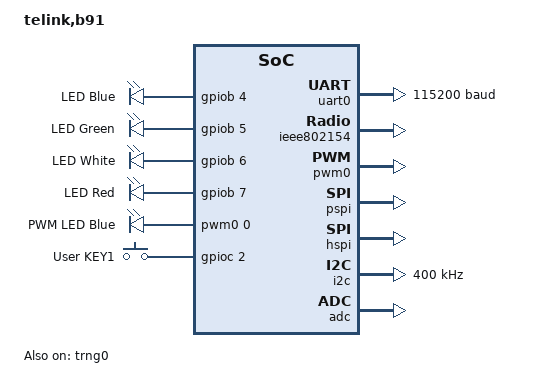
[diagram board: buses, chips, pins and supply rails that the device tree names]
/*
 * Copyright (c) 2021 Telink Semiconductor
 *
 * SPDX-License-Identifier: Apache-2.0
 */

/dts-v1/;

#include <freq.h>
#include <telink/telink_b91.dtsi>
#include "tlsr9518adk80d-pinctrl.dtsi"
#include <zephyr/dt-bindings/input/input-event-codes.h>

/ {
	model = "telink,b91";
	compatible = "telink,tlsr9518adk80d";

	aliases {
		led0 = &led_blue;
		led1 = &led_green;
		led2 = &led_white;
		led3 = &led_red;
		sw0 = &key_1;
		pwm-led0 = &pwm_led_blue;
		pwm-0 = &pwm0;
	};

	leds {
		compatible = "gpio-leds";

		led_blue: led_0 {
			gpios = <&gpiob 4 GPIO_ACTIVE_HIGH>;
			label = "LED Blue";
		};

		led_green: led_1 {
			gpios = <&gpiob 5 GPIO_ACTIVE_HIGH>;
			label = "LED Green";
		};

		led_white: led_2 {
			gpios = <&gpiob 6 GPIO_ACTIVE_HIGH>;
			label = "LED White";
		};

		led_red: led_3 {
			gpios = <&gpiob 7 GPIO_ACTIVE_HIGH>;
			label = "LED Red";
		};
	};

	pwm_leds {
		compatible = "pwm-leds";

		pwm_led_blue: pwm_led_0 {
			pwms = <&pwm0 0 PWM_MSEC(20) PWM_POLARITY_NORMAL>;
			label = "PWM LED Blue";
		};
	};

	keys {
		compatible = "gpio-keys";
		key_1: button_1 {
			label = "User KEY1";
			gpios = <&gpioc 2 GPIO_PULL_DOWN>;
			zephyr,code = <INPUT_KEY_0>;
		};
	};

	chosen {
		zephyr,console = &uart0;
		zephyr,shell-uart = &uart0;
		zephyr,sram = &ram_dlm;
		zephyr,flash = &flash;
		zephyr,flash-controller = &flash_mspi;
		zephyr,entropy = &trng0;
		zephyr,code-partition = &slot0_partition;
		zephyr,ieee802154 = &ieee802154;
	};
};

&cpu0 {
	clock-frequency = <48000000>;
};

&ram_ilm {
	reg = <0x00000000 0x00020000>;
};

&ram_dlm {
	reg = <0x00080000 0x00020000>;
};

&flash {
	reg = <0x20000000 0x100000>;

	partitions {
		compatible = "fixed-partitions";
		#address-cells = <1>;
		#size-cells = <1>;

		boot_partition: partition@0 {
			label = "mcuboot";
			reg = <0x00000000 0x10000>;
		};
		slot0_partition: partition@10000 {
			label = "image-0";
			reg = <0x10000 0x70000>;
		};
		slot1_partition: partition@80000 {
			label = "image-1";
			reg = <0x80000 0x70000>;
		};
		scratch_partition: partition@f0000 {
			label = "image-scratch";
			reg = <0xf0000 0x4000>;
		};
		storage_partition: partition@f4000 {
			label = "storage";
			reg = <0xf4000 0x0000b000>;
		/* region <0xff000 0x1000> is reserved for Telink B91 SDK's data */
		};
	};
};

&gpiob {
	status = "okay";
};

&gpioc {
	interrupts = <25 1>;
	status = "okay";
};

&uart0 {
	status = "okay";
	current-speed = <115200>;
	pinctrl-0 = <&uart0_tx_pb2_default &uart0_rx_pb3_default>;
	pinctrl-names = "default";
};

&trng0 {
	status = "okay";
};

&ieee802154 {
	status = "okay";
};

&pwm0 {
	status = "okay";
	clock-frequency = <93750>;
	pinctrl-0 = <&pwm_ch0_pb4_default>;
	pinctrl-names = "default";
};

&pspi {
	status = "okay";
	cs0-pin = "PSPI_CSN_PC4";
	pinctrl-0 = <&pspi_clk_pc5_default &pspi_miso_pc6_default &pspi_mosi_pc7_default>;
	pinctrl-names = "default";
};

&hspi {
	status = "okay";
	cs0-pin = "HSPI_CSN_PA1";
	pinctrl-0 = <&hspi_clk_pa2_default &hspi_miso_pa3_default &hspi_mosi_pa4_default>;
	pinctrl-names = "default";
};

&i2c {
	status = "okay";
	clock-frequency = <I2C_BITRATE_FAST>;
	pinctrl-0 = <&i2c_scl_pe1_default &i2c_sda_pe3_default>;
	pinctrl-names = "default";
};

&adc {
	status = "okay";
	vref-internal-mv = <1200>;
	sample-freq = <DT_FREQ_K(96)>;
};
